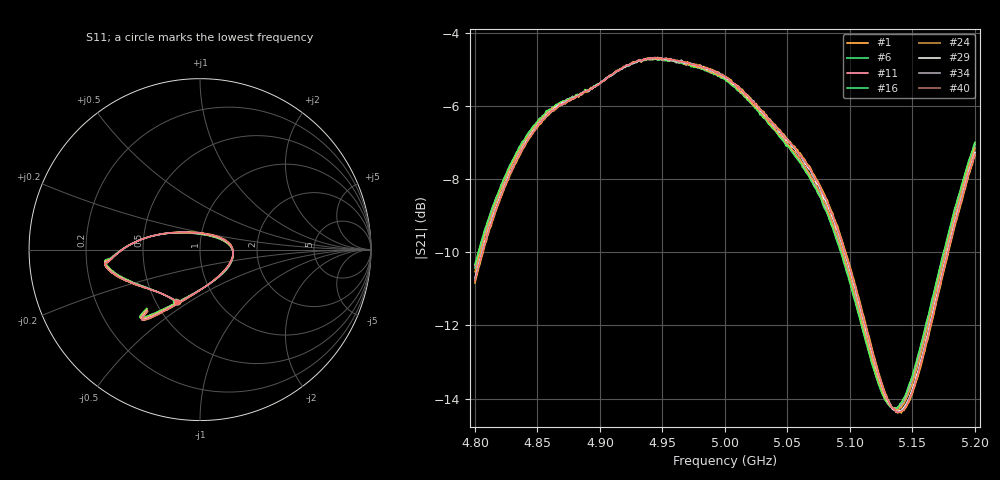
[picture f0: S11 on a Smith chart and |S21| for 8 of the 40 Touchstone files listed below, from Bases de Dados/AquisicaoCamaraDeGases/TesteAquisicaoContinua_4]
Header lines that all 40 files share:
! Network Analyzer HP8722D
! Hewlett-Packard
! Data name: Linha & Wilkinson
! Saver's name: Rodrigo Anjos
! Comments: Teste da utilização de aquisição
! continua pelo VNA HP8722D
!  Frequency  S11  S21  S12  S22
# HZ  S  MA R 50
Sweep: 4.8 GHz to 5.2 GHz
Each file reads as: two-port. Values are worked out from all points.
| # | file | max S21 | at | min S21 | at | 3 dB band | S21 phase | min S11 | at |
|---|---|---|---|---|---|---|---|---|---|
| 1 | teste_arseco&borbulhador_Acetona_10-80_160.S2P | -4.67 dB | 4.946 GHz | -14.4 dB | 5.141 GHz | 4.832 GHz-5.067 GHz | -111 deg at 5 GHz | -20.3 dB | 5.005 GHz |
| 2 | teste_arseco&borbulhador_Acetona_10-80_161.S2P | -4.68 dB | 4.951 GHz | -14.4 dB | 5.139 GHz | 4.831 GHz-5.067 GHz | -111 deg at 5 GHz | -20.2 dB | 5.007 GHz |
| 3 | teste_arseco&borbulhador_Acetona_10-80_162.S2P | -4.69 dB | 4.946 GHz | -14.4 dB | 5.137 GHz | 4.831 GHz-5.067 GHz | -111 deg at 5 GHz | -20.3 dB | 5.005 GHz |
| 4 | teste_arseco&borbulhador_Acetona_10-80_163.S2P | -4.68 dB | 4.945 GHz | -14.3 dB | 5.137 GHz | 4.829 GHz-5.065 GHz | -112 deg at 5 GHz | -20.6 dB | 5.003 GHz |
| 5 | teste_arseco&borbulhador_Acetona_10-80_164.S2P | -4.71 dB | 4.949 GHz | -14.3 dB | 5.137 GHz | 4.828 GHz-5.064 GHz | -112 deg at 5 GHz | -20.7 dB | 5.003 GHz |
| 6 | teste_arseco&borbulhador_Acetona_10-80_165.S2P | -4.69 dB | 4.942 GHz | -14.3 dB | 5.137 GHz | 4.828 GHz-5.063 GHz | -112 deg at 5 GHz | -20.8 dB | 5.004 GHz |
| 7 | teste_arseco&borbulhador_Acetona_10-80_166.S2P | -4.71 dB | 4.944 GHz | -14.3 dB | 5.137 GHz | 4.828 GHz-5.064 GHz | -112 deg at 5 GHz | -20.8 dB | 5.005 GHz |
| 8 | teste_arseco&borbulhador_Acetona_10-80_167.S2P | -4.70 dB | 4.944 GHz | -14.3 dB | 5.137 GHz | 4.828 GHz-5.063 GHz | -112 deg at 5 GHz | -20.9 dB | 5.004 GHz |
| 9 | teste_arseco&borbulhador_Acetona_10-80_168.S2P | -4.70 dB | 4.944 GHz | -14.3 dB | 5.137 GHz | 4.828 GHz-5.063 GHz | -112 deg at 5 GHz | -20.9 dB | 5.002 GHz |
| 10 | teste_arseco&borbulhador_Acetona_10-80_169.S2P | -4.71 dB | 4.944 GHz | -14.3 dB | 5.137 GHz | 4.828 GHz-5.063 GHz | -112 deg at 5 GHz | -20.9 dB | 5.002 GHz |
| 11 | teste_arseco&borbulhador_Acetona_10-80_170.S2P | -4.71 dB | 4.944 GHz | -14.3 dB | 5.137 GHz | 4.827 GHz-5.063 GHz | -112 deg at 5 GHz | -20.9 dB | 5.004 GHz |
| 12 | teste_arseco&borbulhador_Acetona_10-80_171.S2P | -4.70 dB | 4.946 GHz | -14.3 dB | 5.137 GHz | 4.827 GHz-5.063 GHz | -112 deg at 5 GHz | -21.0 dB | 5.003 GHz |
| 13 | teste_arseco&borbulhador_Acetona_10-80_172.S2P | -4.71 dB | 4.944 GHz | -14.3 dB | 5.137 GHz | 4.827 GHz-5.063 GHz | -112 deg at 5 GHz | -21.0 dB | 5.003 GHz |
| 14 | teste_arseco&borbulhador_Acetona_10-80_173.S2P | -4.71 dB | 4.944 GHz | -14.3 dB | 5.137 GHz | 4.827 GHz-5.063 GHz | -112 deg at 5 GHz | -21.0 dB | 5.004 GHz |
| 15 | teste_arseco&borbulhador_Acetona_10-80_174.S2P | -4.71 dB | 4.944 GHz | -14.3 dB | 5.137 GHz | 4.827 GHz-5.062 GHz | -112 deg at 5 GHz | -21.0 dB | 5.004 GHz |
| 16 | teste_arseco&borbulhador_Acetona_10-80_175.S2P | -4.71 dB | 4.944 GHz | -14.3 dB | 5.137 GHz | 4.827 GHz-5.062 GHz | -112 deg at 5 GHz | -21.0 dB | 5.003 GHz |
| 17 | teste_arseco&borbulhador_Acetona_10-80_176.S2P | -4.70 dB | 4.944 GHz | -14.3 dB | 5.137 GHz | 4.827 GHz-5.062 GHz | -112 deg at 5 GHz | -21.0 dB | 5.004 GHz |
| 18 | teste_arseco&borbulhador_Acetona_10-80_177.S2P | -4.71 dB | 4.944 GHz | -14.3 dB | 5.134 GHz | 4.827 GHz-5.063 GHz | -112 deg at 5 GHz | -21.0 dB | 5.004 GHz |
| 19 | teste_arseco&borbulhador_Acetona_10-80_178.S2P | -4.70 dB | 4.944 GHz | -14.3 dB | 5.135 GHz | 4.827 GHz-5.062 GHz | -112 deg at 5 GHz | -21.0 dB | 5.003 GHz |
| 20 | teste_arseco&borbulhador_Acetona_10-80_179.S2P | -4.71 dB | 4.944 GHz | -14.3 dB | 5.137 GHz | 4.827 GHz-5.062 GHz | -112 deg at 5 GHz | -21.0 dB | 5.004 GHz |
| 21 | teste_arseco&borbulhador_Acetona_10-80_180.S2P | -4.72 dB | 4.944 GHz | -14.3 dB | 5.137 GHz | 4.827 GHz-5.063 GHz | -112 deg at 5 GHz | -21.0 dB | 5.003 GHz |
| 22 | teste_arseco&borbulhador_Acetona_10-80_181.S2P | -4.70 dB | 4.944 GHz | -14.3 dB | 5.137 GHz | 4.827 GHz-5.062 GHz | -112 deg at 5 GHz | -21.0 dB | 5.003 GHz |
| 23 | teste_arseco&borbulhador_Acetona_10-80_182.S2P | -4.71 dB | 4.944 GHz | -14.3 dB | 5.137 GHz | 4.827 GHz-5.063 GHz | -112 deg at 5 GHz | -21.0 dB | 5.003 GHz |
| 24 | teste_arseco&borbulhador_Acetona_10-80_183.S2P | -4.70 dB | 4.944 GHz | -14.3 dB | 5.137 GHz | 4.829 GHz-5.064 GHz | -112 deg at 5 GHz | -20.7 dB | 5.002 GHz |
| 25 | teste_arseco&borbulhador_Acetona_10-80_184.S2P | -4.68 dB | 4.945 GHz | -14.3 dB | 5.137 GHz | 4.83 GHz-5.065 GHz | -112 deg at 5 GHz | -20.6 dB | 5.005 GHz |
| 26 | teste_arseco&borbulhador_Acetona_10-80_185.S2P | -4.69 dB | 4.944 GHz | -14.3 dB | 5.137 GHz | 4.83 GHz-5.065 GHz | -111 deg at 5 GHz | -20.6 dB | 5.004 GHz |
| 27 | teste_arseco&borbulhador_Acetona_10-80_186.S2P | -4.69 dB | 4.944 GHz | -14.3 dB | 5.138 GHz | 4.83 GHz-5.066 GHz | -111 deg at 5 GHz | -20.5 dB | 5.005 GHz |
| 28 | teste_arseco&borbulhador_Acetona_10-80_187.S2P | -4.69 dB | 4.938 GHz | -14.4 dB | 5.137 GHz | 4.83 GHz-5.065 GHz | -111 deg at 5 GHz | -20.5 dB | 5.004 GHz |
| 29 | teste_arseco&borbulhador_Acetona_10-80_188.S2P | -4.68 dB | 4.944 GHz | -14.4 dB | 5.138 GHz | 4.831 GHz-5.066 GHz | -111 deg at 5 GHz | -20.5 dB | 5.005 GHz |
| 30 | teste_arseco&borbulhador_Acetona_10-80_189.S2P | -4.68 dB | 4.944 GHz | -14.4 dB | 5.138 GHz | 4.831 GHz-5.066 GHz | -111 deg at 5 GHz | -20.4 dB | 5.005 GHz |
| 31 | teste_arseco&borbulhador_Acetona_10-80_190.S2P | -4.69 dB | 4.949 GHz | -14.4 dB | 5.138 GHz | 4.831 GHz-5.067 GHz | -111 deg at 5 GHz | -20.4 dB | 5.005 GHz |
| 32 | teste_arseco&borbulhador_Acetona_10-80_191.S2P | -4.69 dB | 4.944 GHz | -14.4 dB | 5.138 GHz | 4.831 GHz-5.066 GHz | -111 deg at 5 GHz | -20.4 dB | 5.005 GHz |
| 33 | teste_arseco&borbulhador_Acetona_10-80_192.S2P | -4.69 dB | 4.944 GHz | -14.4 dB | 5.137 GHz | 4.831 GHz-5.066 GHz | -111 deg at 5 GHz | -20.4 dB | 5.004 GHz |
| 34 | teste_arseco&borbulhador_Acetona_10-80_193.S2P | -4.69 dB | 4.939 GHz | -14.4 dB | 5.137 GHz | 4.831 GHz-5.067 GHz | -111 deg at 5 GHz | -20.4 dB | 5.005 GHz |
| 35 | teste_arseco&borbulhador_Acetona_10-80_194.S2P | -4.67 dB | 4.944 GHz | -14.4 dB | 5.14 GHz | 4.831 GHz-5.066 GHz | -111 deg at 5 GHz | -20.4 dB | 5.004 GHz |
| 36 | teste_arseco&borbulhador_Acetona_10-80_195.S2P | -4.67 dB | 4.944 GHz | -14.4 dB | 5.141 GHz | 4.831 GHz-5.067 GHz | -111 deg at 5 GHz | -20.3 dB | 5.004 GHz |
| 37 | teste_arseco&borbulhador_Acetona_10-80_196.S2P | -4.68 dB | 4.944 GHz | -14.4 dB | 5.139 GHz | 4.831 GHz-5.067 GHz | -111 deg at 5 GHz | -20.3 dB | 5.004 GHz |
| 38 | teste_arseco&borbulhador_Acetona_10-80_197.S2P | -4.67 dB | 4.944 GHz | -14.4 dB | 5.138 GHz | 4.831 GHz-5.067 GHz | -111 deg at 5 GHz | -20.3 dB | 5.005 GHz |
| 39 | teste_arseco&borbulhador_Acetona_10-80_198.S2P | -4.68 dB | 4.945 GHz | -14.4 dB | 5.138 GHz | 4.831 GHz-5.066 GHz | -111 deg at 5 GHz | -20.3 dB | 5.005 GHz |
| 40 | teste_arseco&borbulhador_Acetona_10-80_199.S2P | -4.67 dB | 4.944 GHz | -14.4 dB | 5.139 GHz | 4.831 GHz-5.067 GHz | -111 deg at 5 GHz | -20.3 dB | 5.004 GHz |
